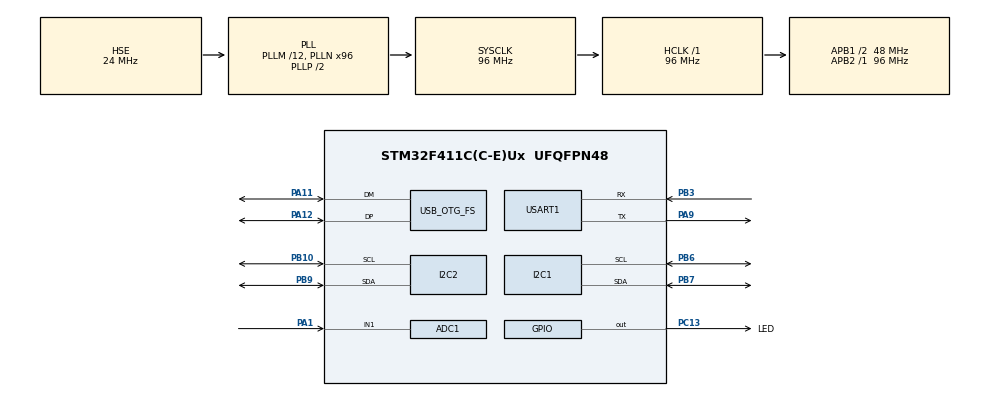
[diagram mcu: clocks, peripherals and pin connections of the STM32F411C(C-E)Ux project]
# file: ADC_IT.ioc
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ADC1.Channel-1\#ChannelRegularConversion=ADC_CHANNEL_1
ADC1.NbrOfConversionFlag=1
ADC1.Rank-1\#ChannelRegularConversion=1
ADC1.SamplingTime-1\#ChannelRegularConversion=ADC_SAMPLETIME_3CYCLES
ADC1.master=1
Mcu.Family=STM32F4
Mcu.Name=STM32F411C(C-E)Ux
Mcu.Package=UFQFPN48
NVIC.ADC_IRQn=true\:0\:0\:false\:false\:true\:true\:true\:true
NVIC.OTG_FS_IRQn=true\:0\:0\:false\:false\:true\:false\:true\:true
NVIC.PriorityGroup=NVIC_PRIORITYGROUP_4
PA1.Signal=ADCx_IN1
PA11.Mode=Device_Only
PA11.Signal=USB_OTG_FS_DM
PA12.Mode=Device_Only
PA12.Signal=USB_OTG_FS_DP
PA13.Mode=Serial_Wire
PA13.Signal=SYS_JTMS-SWDIO
PA14.Mode=Serial_Wire
PA14.Signal=SYS_JTCK-SWCLK
PA9.Mode=Asynchronous
PA9.Signal=USART1_TX
PB10.Mode=I2C
PB10.Signal=I2C2_SCL
PB3.Mode=Asynchronous
PB3.Signal=USART1_RX
PB6.Mode=I2C
PB6.Signal=I2C1_SCL
PB7.Mode=I2C
PB7.Signal=I2C1_SDA
PB9.Mode=I2C
PB9.Signal=I2C2_SDA
PC13-ANTI_TAMP.GPIO_Label=LED
PC13-ANTI_TAMP.Signal=GPIO_Output
PH0\ -\ OSC_IN.Mode=HSE-External-Oscillator
PH0\ -\ OSC_IN.Signal=RCC_OSC_IN
PH1\ -\ OSC_OUT.Mode=HSE-External-Oscillator
PH1\ -\ OSC_OUT.Signal=RCC_OSC_OUT
ProjectManager.HeapSize=0x200
ProjectManager.StackSize=0x400
ProjectManager.TargetToolchain=STM32CubeIDE
RCC.48MHZClocksFreq_Value=48000000
RCC.AHBFreq_Value=96000000
RCC.APB1CLKDivider=RCC_HCLK_DIV2
RCC.APB1Freq_Value=48000000
RCC.APB1TimFreq_Value=96000000
RCC.APB2Freq_Value=96000000
RCC.APB2TimFreq_Value=96000000
RCC.CortexFreq_Value=96000000
RCC.HCLKFreq_Value=96000000
RCC.HSE_VALUE=24000000
RCC.HSI_VALUE=16000000
RCC.LSE_VALUE=32768
RCC.PLLM=12
RCC.PLLN=96
RCC.SYSCLKFreq_VALUE=96000000
RCC.SYSCLKSource=RCC_SYSCLKSOURCE_PLLCLK
RCC.VCOOutputFreq_Value=192000000
SH.ADCx_IN1.0=ADC1_IN1,IN1
USART1.VirtualMode=VM_ASYNC
USB_DEVICE.CLASS_NAME_FS=CDC
USB_DEVICE.VirtualMode=Cdc
USB_DEVICE.VirtualModeFS=Cdc_FS
USB_OTG_FS.VirtualMode=Device_Only
VP_USB_DEVICE_VS_USB_DEVICE_CDC_FS.Mode=CDC_FS
board=custom

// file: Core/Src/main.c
/* USER CODE BEGIN Header */
/**
 ******************************************************************************
 * @file           : main.c
 * @brief          : Main program body
 ******************************************************************************
 * @attention
 *
 * Copyright (c) 2023 STMicroelectronics.
 * All rights reserved.
 *
 * This software is licensed under terms that can be found in the LICENSE file
 * in the root directory of this software component.
 * If no LICENSE file comes with this software, it is provided AS-IS.
 *
 ******************************************************************************
 */
/* USER CODE END Header */
#include "main.h"
#include "usb_device.h"

/* USER CODE BEGIN Includes */
#include "string.h"
#include "LCD_I2C.h"
#include "count2volt.h"
#include "stdio.h"
/* USER CODE END Includes */

/* USER CODE BEGIN PD */
#define Linha_1 (0x80 | 0x00)
#define Linha_2 (0x80 | 0x40)
#define Linha_3 (0x80 | 0x14)
#define Linha_4 (0x80 | 0x54)
#define ADCRES 12
/* USER CODE END PD */

ADC_HandleTypeDef hadc1;

I2C_HandleTypeDef hi2c1;
I2C_HandleTypeDef hi2c2;

UART_HandleTypeDef huart1;

/* USER CODE BEGIN PV */
uint32_t adc_valor, resto, A, B, V;
float valor;
char V_string[20], valor_string[20];
uint8_t buf[2];
uint32_t counter = 0;
/* USER CODE END PV */

void SystemClock_Config(void);
static void MX_GPIO_Init(void);
static void MX_ADC1_Init(void);
static void MX_I2C1_Init(void);
static void MX_I2C2_Init(void);
static void MX_USART1_UART_Init(void);
extern uint8_t CDC_Transmit_FS(uint8_t *Buf, uint16_t Len);
void sendChar(char *c);
void btSendString(char *Buf);
void lcd_send_nibble(char nibble);
void lcd_send_cmd (char cmd);
void lcd_send_dado (char dado);
void lcd_init (void);
void lcd_send_string(char *str);
void lcd_clear(void);

int main(void)
{

  /* MCU Configuration--------------------------------------------------------*/

  /* Reset of all peripherals, Initializes the Flash interface and the Systick. */
  HAL_Init();

  /* USER CODE BEGIN Init */
	HAL_StatusTypeDef RET;
  /* USER CODE END Init */

  /* Configure the system clock */
  SystemClock_Config();

  /* Initialize all configured peripherals */
  MX_GPIO_Init();
  MX_ADC1_Init();
  MX_I2C1_Init();
  MX_I2C2_Init();
  MX_USART1_UART_Init();
  MX_USB_DEVICE_Init();
  /* USER CODE BEGIN 2 */
	lcd_init();
	HAL_ADC_Start_IT(&hadc1);
  /* USER CODE END 2 */

  /* Infinite loop */
  /* USER CODE BEGIN WHILE */
	while (1) {
		adc_valor = 2048;
		buf[0] = (uint8_t) (adc_valor >> 8);
		buf[1] = (uint8_t) adc_valor;
		RET = HAL_I2C_Master_Transmit(&hi2c2, (0x60) << 1, buf, 2, 50);
		if (RET == HAL_OK)
			HAL_GPIO_WritePin(GPIOC, LED_Pin, 0);
		else
			HAL_GPIO_WritePin(GPIOC, LED_Pin, 1);

		valor = count2volt(ADCRES, adc_valor);
		sprintf(valor_string, "%.3f [V]", valor);

		lcd_send_cmd(Linha_1);
		lcd_send_string("Tensao = ");
		lcd_send_cmd(Linha_1 + 9);
		lcd_send_string(valor_string);

		HAL_Delay(100);

		sprintf(valor_string, "Tensão: %.3f [V]\n", valor);
		btSendString(valor_string);
		HAL_Delay(10);
		sprintf(valor_string, "Tensão: %.3f [V]\n\r", valor);
		CDC_Transmit_FS(valor_string, strlen(valor_string));
		HAL_Delay(500);
		HAL_ADC_Start_IT(&hadc1);
    /* USER CODE END WHILE */

	}
}

void SystemClock_Config(void)
{
  RCC_OscInitTypeDef RCC_OscInitStruct = {0};
  RCC_ClkInitTypeDef RCC_ClkInitStruct = {0};

  /** Configure the main internal regulator output voltage
  */
  __HAL_RCC_PWR_CLK_ENABLE();
  __HAL_PWR_VOLTAGESCALING_CONFIG(PWR_REGULATOR_VOLTAGE_SCALE1);

  /** Initializes the RCC Oscillators according to the specified parameters
  * in the RCC_OscInitTypeDef structure.
  */
  RCC_OscInitStruct.OscillatorType = RCC_OSCILLATORTYPE_HSE;
  RCC_OscInitStruct.HSEState = RCC_HSE_ON;
  RCC_OscInitStruct.PLL.PLLState = RCC_PLL_ON;
  RCC_OscInitStruct.PLL.PLLSource = RCC_PLLSOURCE_HSE;
  RCC_OscInitStruct.PLL.PLLM = 12;
  RCC_OscInitStruct.PLL.PLLN = 96;
  RCC_OscInitStruct.PLL.PLLP = RCC_PLLP_DIV2;
  RCC_OscInitStruct.PLL.PLLQ = 4;
  if (HAL_RCC_OscConfig(&RCC_OscInitStruct) != HAL_OK)
  {
    Error_Handler();
  }

  /** Initializes the CPU, AHB and APB buses clocks
  */
  RCC_ClkInitStruct.ClockType = RCC_CLOCKTYPE_HCLK|RCC_CLOCKTYPE_SYSCLK
                              |RCC_CLOCKTYPE_PCLK1|RCC_CLOCKTYPE_PCLK2;
  RCC_ClkInitStruct.SYSCLKSource = RCC_SYSCLKSOURCE_PLLCLK;
  RCC_ClkInitStruct.AHBCLKDivider = RCC_SYSCLK_DIV1;
  RCC_ClkInitStruct.APB1CLKDivider = RCC_HCLK_DIV2;
  RCC_ClkInitStruct.APB2CLKDivider = RCC_HCLK_DIV1;

  if (HAL_RCC_ClockConfig(&RCC_ClkInitStruct, FLASH_LATENCY_3) != HAL_OK)
  {
    Error_Handler();
  }
}

static void MX_ADC1_Init(void)
{

  ADC_ChannelConfTypeDef sConfig = {0};

  /** Configure the global features of the ADC (Clock, Resolution, Data Alignment and number of conversion)
  */
  hadc1.Instance = ADC1;
  hadc1.Init.ClockPrescaler = ADC_CLOCK_SYNC_PCLK_DIV4;
  hadc1.Init.Resolution = ADC_RESOLUTION_12B;
  hadc1.Init.ScanConvMode = DISABLE;
  hadc1.Init.ContinuousConvMode = DISABLE;
  hadc1.Init.DiscontinuousConvMode = DISABLE;
  hadc1.Init.ExternalTrigConvEdge = ADC_EXTERNALTRIGCONVEDGE_NONE;
  hadc1.Init.ExternalTrigConv = ADC_SOFTWARE_START;
  hadc1.Init.DataAlign = ADC_DATAALIGN_RIGHT;
  hadc1.Init.NbrOfConversion = 1;
  hadc1.Init.DMAContinuousRequests = DISABLE;
  hadc1.Init.EOCSelection = ADC_EOC_SINGLE_CONV;
  if (HAL_ADC_Init(&hadc1) != HAL_OK)
  {
    Error_Handler();
  }

  /** Configure for the selected ADC regular channel its corresponding rank in the sequencer and its sample time.
  */
  sConfig.Channel = ADC_CHANNEL_1;
  sConfig.Rank = 1;
  sConfig.SamplingTime = ADC_SAMPLETIME_3CYCLES;
  if (HAL_ADC_ConfigChannel(&hadc1, &sConfig) != HAL_OK)
  {
    Error_Handler();
  }

}

static void MX_I2C1_Init(void)
{

  hi2c1.Instance = I2C1;
  hi2c1.Init.ClockSpeed = 100000;
  hi2c1.Init.DutyCycle = I2C_DUTYCYCLE_2;
  hi2c1.Init.OwnAddress1 = 0;
  hi2c1.Init.AddressingMode = I2C_ADDRESSINGMODE_7BIT;
  hi2c1.Init.DualAddressMode = I2C_DUALADDRESS_DISABLE;
  hi2c1.Init.OwnAddress2 = 0;
  hi2c1.Init.GeneralCallMode = I2C_GENERALCALL_DISABLE;
  hi2c1.Init.NoStretchMode = I2C_NOSTRETCH_DISABLE;
  if (HAL_I2C_Init(&hi2c1) != HAL_OK)
  {
    Error_Handler();
  }

}

static void MX_I2C2_Init(void)
{

  hi2c2.Instance = I2C2;
  hi2c2.Init.ClockSpeed = 100000;
  hi2c2.Init.DutyCycle = I2C_DUTYCYCLE_2;
  hi2c2.Init.OwnAddress1 = 0;
  hi2c2.Init.AddressingMode = I2C_ADDRESSINGMODE_7BIT;
  hi2c2.Init.DualAddressMode = I2C_DUALADDRESS_DISABLE;
  hi2c2.Init.OwnAddress2 = 0;
  hi2c2.Init.GeneralCallMode = I2C_GENERALCALL_DISABLE;
  hi2c2.Init.NoStretchMode = I2C_NOSTRETCH_DISABLE;
  if (HAL_I2C_Init(&hi2c2) != HAL_OK)
  {
    Error_Handler();
  }

}

static void MX_USART1_UART_Init(void)
{

  huart1.Instance = USART1;
  huart1.Init.BaudRate = 115200;
  huart1.Init.WordLength = UART_WORDLENGTH_8B;
  huart1.Init.StopBits = UART_STOPBITS_1;
  huart1.Init.Parity = UART_PARITY_NONE;
  huart1.Init.Mode = UART_MODE_TX_RX;
  huart1.Init.HwFlowCtl = UART_HWCONTROL_NONE;
  huart1.Init.OverSampling = UART_OVERSAMPLING_16;
  if (HAL_UART_Init(&huart1) != HAL_OK)
  {
    Error_Handler();
  }

}

static void MX_GPIO_Init(void)
{
  GPIO_InitTypeDef GPIO_InitStruct = {0};

  /* GPIO Ports Clock Enable */
  __HAL_RCC_GPIOC_CLK_ENABLE();
  __HAL_RCC_GPIOH_CLK_ENABLE();
  __HAL_RCC_GPIOA_CLK_ENABLE();
  __HAL_RCC_GPIOB_CLK_ENABLE();

  /*Configure GPIO pin Output Level */
  HAL_GPIO_WritePin(LED_GPIO_Port, LED_Pin, GPIO_PIN_RESET);

  /*Configure GPIO pin : LED_Pin */
  GPIO_InitStruct.Pin = LED_Pin;
  GPIO_InitStruct.Mode = GPIO_MODE_OUTPUT_PP;
  GPIO_InitStruct.Pull = GPIO_NOPULL;
  GPIO_InitStruct.Speed = GPIO_SPEED_FREQ_LOW;
  HAL_GPIO_Init(LED_GPIO_Port, &GPIO_InitStruct);

}

/* USER CODE BEGIN 4 */
void HAL_ADC_ConvCpltCallback(ADC_HandleTypeDef *hadc1) {
	adc_valor = HAL_ADC_GetValue(hadc1);
	HAL_ADC_Stop_IT(hadc1);
}

void sendChar(char *c) {
	HAL_UART_Transmit(&huart1, &c, 1, 10);
}

void btSendString(char *Buf) {
	// Loop through each character in the string until the null terminator
	while (*Buf) {
		sendChar((uint8_t) *Buf++);
		HAL_Delay(2);
	}
}

/* USER CODE END 4 */

void Error_Handler(void)
{
	__disable_irq();
	while (1) {
	}
}
